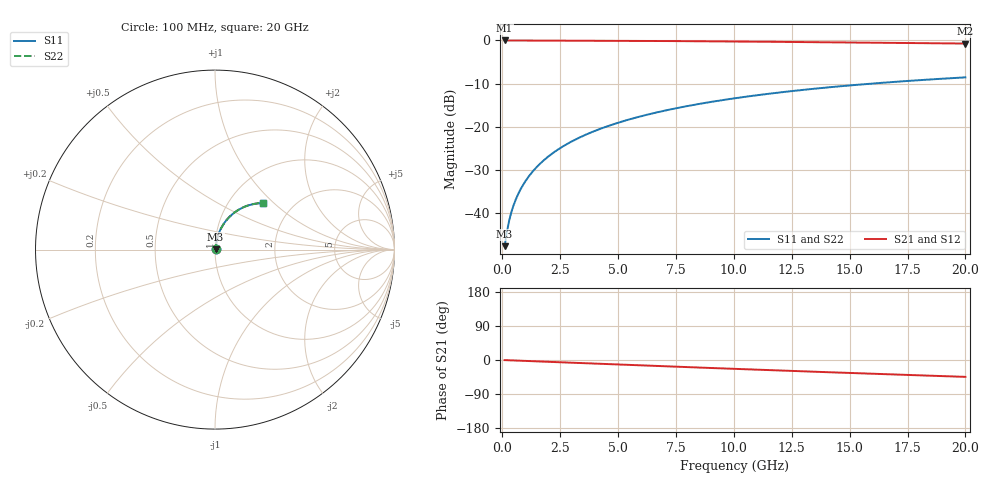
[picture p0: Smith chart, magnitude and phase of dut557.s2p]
! Touchstone file exported from HFSS 2026.1.0
!  File:  C:/ffzhzh/LocalFiles/Ansys_Project_Files/temp_train_BSMRDL_557_1783015269_46388.aedt
!  Generated:  02:02:33 AM Jul  3, 2026
!  Design:  BSMRDL
!  Project:  temp_train_BSMRDL_557_1783015269_46388
! Variables:
!  h_bsmrdl = 2.7um
!  h_ox = 20um
!  h_rdl = 5um
!  h_sub = 80um
!  h_tmrdl = 5um
!  h_tsv = 80um
!  h_via = 3um
!  l_bsmrdl = 657.8um
!  l_sub = 1057.8um
!  l_tmrdl = 200um
!  m_sub = 200um
!  pitch = 55.51um
!  r_tsv = 6um
!  s_tmrdl = 10um
!  w_bsmrdl = 29.38um
!  w_sub = 500um
!  w_tmrdl = 12um
!  x_tsv_center1 = 206um
!  x_tsv_center2 = 893.18um
!  x_tsv_center3 = 1105.18um
!  x_tsv_center4 = 1792.36um
!  x_tsv_center5 = 2004.36um
!  x_tsv_center6 = 2691.54um
# GHz S MA R 50.000000
! Terminal data exported
! Port[1] = BSM_RDL1_1_T1
! Port[2] = BSM_RDL1_1_T2
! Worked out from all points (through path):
!   200 points, 100 MHz to 20 GHz, reference 50 ohm
!   highest |S21| = -0.03 dB at 100 MHz (marker M1); lowest = -0.7 dB at 20 GHz (marker M2)
!   group delay of S21, straight-line fit = 6.19 ps
!   lowest |S11| = -47.7 dB at 100 MHz (marker M3), VSWR 1.01, Z = 50.3 + j0.256 ohm
!   |S11| at or under -10 dB: start of sweep to 16 GHz
!   |S22| runs from -47.7 to -8.6 dB; largest |S21 - S12| = 2.6e-15
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0.1  0.004138 37.9  0.9967 -0.3  0.9967 -0.3  0.004138 37.9
! Gamma 0 0 0 0
! Port Impedance 50 0 50 0
0.2  0.006088 55.2  0.9966 -0.5  0.9966 -0.5  0.006088 55.2
0.3  0.008248 63.1  0.9963 -0.8  0.9963 -0.8  0.008248 63.1
0.4  0.01043 67.5  0.9961 -1.0  0.9961 -1.0  0.01043 67.5
0.5  0.01259 70.4  0.996 -1.2  0.996 -1.2  0.01259 70.4
0.6  0.01475 72.4  0.9958 -1.5  0.9958 -1.5  0.01475 72.4
0.8  0.01908 75.1  0.9956 -1.9  0.9956 -1.9  0.01908 75.1
1.1  0.02561 77.4  0.9953 -2.6  0.9953 -2.6  0.02561 77.4
1.3  0.03 78.3  0.9951 -3.1  0.9951 -3.1  0.03 78.3
1.6  0.03661 79.0  0.9948 -3.8  0.9948 -3.8  0.03661 79.0
2.1  0.04767 79.3  0.9942 -5.0  0.9942 -5.0  0.04767 79.3
2.7  0.06093 79.0  0.9933 -6.4  0.9933 -6.4  0.06093 79.0
3.5  0.07854 78.0  0.9919 -8.3  0.9919 -8.3  0.07854 78.0
4.2  0.09382 76.8  0.9903 -10.0  0.9903 -10.0  0.09381 76.8
5  0.1111 75.2  0.9882 -11.9  0.9882 -11.9  0.1111 75.3
5.9  0.1302 73.4  0.9856 -14.0  0.9856 -14.0  0.1302 73.5
6.8  0.149 71.5  0.9825 -16.0  0.9825 -16.0  0.149 71.6
8.3  0.1795 68.3  0.9768 -19.5  0.9768 -19.5  0.1795 68.3
10.1  0.2146 64.4  0.969 -23.5  0.969 -23.5  0.2146 64.5
13.4  0.274 57.3  0.9529 -30.8  0.9529 -30.8  0.274 57.4
16.7  0.3268 50.5  0.9354 -37.8  0.9354 -37.8  0.3267 50.6
20  0.3727 43.9  0.9177 -44.5  0.9177 -44.5  0.3726 44.1
